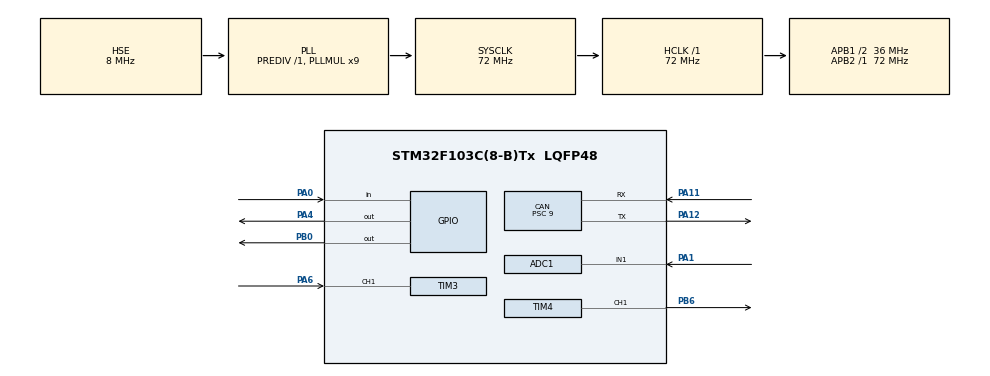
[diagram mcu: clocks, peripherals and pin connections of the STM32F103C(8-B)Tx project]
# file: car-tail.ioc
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ADC1.Channel-1\#ChannelRegularConversion=ADC_CHANNEL_1
ADC1.ContinuousConvMode=ENABLE
ADC1.NbrOfConversionFlag=1
ADC1.Rank-1\#ChannelRegularConversion=1
ADC1.SamplingTime-1\#ChannelRegularConversion=ADC_SAMPLETIME_239CYCLES_5
ADC1.master=1
CAN.BS1=CAN_BS1_6TQ
CAN.CalculateBaudRate=500000
CAN.CalculateTimeBit=2000
CAN.CalculateTimeQuantum=250.0
CAN.Prescaler=9
Mcu.Family=STM32F1
Mcu.Name=STM32F103C(8-B)Tx
Mcu.Package=LQFP48
NVIC.PriorityGroup=NVIC_PRIORITYGROUP_4
NVIC.TIM3_IRQn=true\:0\:0\:false\:false\:true\:true\:true\:true
PA0-WKUP.Signal=GPIO_Input
PA1.Signal=ADCx_IN1
PA11.Mode=CAN_Activate
PA11.Signal=CAN_RX
PA12.Mode=CAN_Activate
PA12.Signal=CAN_TX
PA13.Mode=Serial_Wire
PA13.Signal=SYS_JTMS-SWDIO
PA14.Mode=Serial_Wire
PA14.Signal=SYS_JTCK-SWCLK
PA4.Signal=GPIO_Output
PA6.Signal=S_TIM3_CH1
PB0.Signal=GPIO_Output
PB6.Signal=S_TIM4_CH1
PD0-OSC_IN.Mode=HSE-External-Oscillator
PD0-OSC_IN.Signal=RCC_OSC_IN
PD1-OSC_OUT.Mode=HSE-External-Oscillator
PD1-OSC_OUT.Signal=RCC_OSC_OUT
ProjectManager.HeapSize=0x200
ProjectManager.StackSize=0x400
ProjectManager.TargetToolchain=CMake
RCC.ADCPresc=RCC_ADCPCLK2_DIV6
RCC.AHBFreq_Value=72000000
RCC.APB1CLKDivider=RCC_HCLK_DIV2
RCC.APB1Freq_Value=36000000
RCC.APB1TimFreq_Value=72000000
RCC.APB2Freq_Value=72000000
RCC.APB2TimFreq_Value=72000000
RCC.HCLKFreq_Value=72000000
RCC.PLLMUL=RCC_PLL_MUL9
RCC.PLLSourceVirtual=RCC_PLLSOURCE_HSE
RCC.SYSCLKFreq_VALUE=72000000
RCC.SYSCLKSource=RCC_SYSCLKSOURCE_PLLCLK
RCC.USBFreq_Value=72000000
SH.ADCx_IN1.0=ADC1_IN1,IN1
SH.S_TIM3_CH1.0=TIM3_CH1,Input_Capture1_from_TI1
SH.S_TIM4_CH1.0=TIM4_CH1,PWM Generation1 CH1
TIM2.AutoReloadPreload=TIM_AUTORELOAD_PRELOAD_ENABLE
TIM2.Prescaler=71
TIM3.Channel-Input_Capture1_from_TI1=TIM_CHANNEL_1
TIM3.Prescaler=71
TIM4.Channel-PWM\ Generation1\ CH1=TIM_CHANNEL_1
TIM4.Period=19999
TIM4.Prescaler=71
VP_TIM2_VS_ClockSourceINT.Mode=Internal
VP_TIM3_VS_ClockSourceINT.Mode=Internal
VP_TIM4_VS_ClockSourceINT.Mode=Internal
board=custom

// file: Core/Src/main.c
/* USER CODE BEGIN Header */
/**
  ******************************************************************************
  * @file           : main.c
  * @brief          : Main program body
  ******************************************************************************
  * @attention
  *
  * Copyright (c) 2026 STMicroelectronics.
  * All rights reserved.
  *
  * This software is licensed under terms that can be found in the LICENSE file
  * in the root directory of this software component.
  * If no LICENSE file comes with this software, it is provided AS-IS.
  *
  ******************************************************************************
  */
/* USER CODE END Header */
#include "main.h"

/* USER CODE BEGIN Includes */
#include "ds18b20.h"
#include "Hc-Sr04.h"

/* USER CODE END Includes */

/* USER CODE BEGIN PD */
#define SERVO_PULSE_MIN   500
#define SERVO_PULSE_MAX   2500
#define ADC_VALUE_MAX     4095
#define CAN_ID_TAIL_TEMP      0x201   // nhiệt độ động cơ (DS18B20)
#define CAN_ID_TAIL_STEERING  0x203   // góc lái / servo pulse
#define CAN_ID_TAIL_DISTANCE  0x204   // khoảng cách lùi (HC-SR04)
/* USER CODE END PD */

ADC_HandleTypeDef hadc1;

CAN_HandleTypeDef hcan;

TIM_HandleTypeDef htim2;
TIM_HandleTypeDef htim3;
TIM_HandleTypeDef htim4;

/* USER CODE BEGIN PV */
float Temperature = 0.0;
float distance=0.0;
uint8_t DS18B20_flag = 0;
/* USER CODE END PV */

void SystemClock_Config(void);
static void MX_GPIO_Init(void);
static void MX_TIM2_Init(void);
static void MX_TIM3_Init(void);
static void MX_ADC1_Init(void);
static void MX_TIM4_Init(void);
static void MX_CAN_Init(void);

/* USER CODE BEGIN 0 */
 void delay_us(uint16_t time_us)
{
    __HAL_TIM_SET_COUNTER(&htim2, 0);
    while (__HAL_TIM_GET_COUNTER(&htim2) < time_us);
}
void delay_ms(uint16_t time_ms)
{
    while(time_ms--)
    {
        delay_us(1000);
    }

}
void CAN_SendValue(uint32_t id, float value)
{
    CAN_TxHeaderTypeDef TxHeader;
    uint8_t TxData[2];
    uint32_t TxMailbox;
    uint16_t scaled = (uint16_t)(value * 100); // để lấy hết giữ liệu thập phân

    TxHeader.StdId = id;
    TxHeader.IDE = CAN_ID_STD;
    TxHeader.RTR = CAN_RTR_DATA;
    TxHeader.DLC = 2;
    TxHeader.TransmitGlobalTime = DISABLE;

    TxData[0] = (scaled >> 8) & 0xFF;
    TxData[1] = scaled & 0xFF;

    HAL_CAN_AddTxMessage(&hcan, &TxHeader, TxData, &TxMailbox);
}
/* USER CODE END 0 */

int main(void)
{

  /* USER CODE BEGIN 1 */
  uint32_t DS18B20_time = 0;
  uint32_t HCSR04_time = 0;
  uint32_t  SERVO_time = 0;

  /* USER CODE END 1 */

  /* MCU Configuration--------------------------------------------------------*/

  /* Reset of all peripherals, Initializes the Flash interface and the Systick. */
  HAL_Init();

  /* Configure the system clock */
  SystemClock_Config();

  /* Initialize all configured peripherals */
  MX_GPIO_Init();
  MX_TIM2_Init();
  MX_TIM3_Init();
  MX_ADC1_Init();
  MX_TIM4_Init();
  MX_CAN_Init();
  /* USER CODE BEGIN 2 */

  HAL_TIM_Base_Start(&htim2);
  HAL_TIM_Base_Start(&htim3);
  HAL_TIM_IC_Start_IT(&htim3, TIM_CHANNEL_1);
  HAL_GPIO_WritePin(GPIOA, GPIO_PIN_4, GPIO_PIN_RESET);
  HAL_ADC_Start(&hadc1);
  HAL_TIM_PWM_Start(&htim4, TIM_CHANNEL_1);
  if (HAL_CAN_Start(&hcan) != HAL_OK)
  {
    Error_Handler();
  }
  /* USER CODE END 2 */

  /* Infinite loop */
  while (1)
  {

    /* USER CODE BEGIN 3 */
    if (DS18B20_flag == 0 && (HAL_GetTick() - DS18B20_time >= 1000))
    {
        if (DS18B20_StartConvert())
        {
            DS18B20_time = HAL_GetTick();
            DS18B20_flag = 1;
        }
    }
    else if (DS18B20_flag == 1 && (HAL_GetTick() - DS18B20_time >= 750))
    {
        Temperature = DS18B20_GetTemperature();
        CAN_SendValue(CAN_ID_TAIL_TEMP, Temperature);
        DS18B20_time = HAL_GetTick();
        DS18B20_flag = 0;
    }

if(HAL_GetTick() - HCSR04_time >= 100)
{
    HCSR04_time = HAL_GetTick();
    distance = HCSR04_Read();
    CAN_SendValue(CAN_ID_TAIL_DISTANCE, distance);

    if(distance < 20)
        HAL_GPIO_WritePin(GPIOB, GPIO_PIN_0, GPIO_PIN_SET);
    else
        HAL_GPIO_WritePin(GPIOB, GPIO_PIN_0, GPIO_PIN_RESET);
}

if (HAL_GetTick() - SERVO_time >= 20)
{
    SERVO_time = HAL_GetTick();

    if (HAL_ADC_PollForConversion(&hadc1, 10) == HAL_OK)
    {
        uint32_t adc_value = HAL_ADC_GetValue(&hadc1);
        uint16_t servo_pulse = (uint16_t)((adc_value * (SERVO_PULSE_MAX - SERVO_PULSE_MIN))
                                / ADC_VALUE_MAX + SERVO_PULSE_MIN);

        __HAL_TIM_SET_COMPARE(&htim4, TIM_CHANNEL_1, servo_pulse);
          CAN_SendValue(CAN_ID_TAIL_STEERING, (float)servo_pulse / 100.0f);
    }
}

  }
  /* USER CODE END 3 */
}

void SystemClock_Config(void)
{
  RCC_OscInitTypeDef RCC_OscInitStruct = {0};
  RCC_ClkInitTypeDef RCC_ClkInitStruct = {0};
  RCC_PeriphCLKInitTypeDef PeriphClkInit = {0};

  /** Initializes the RCC Oscillators according to the specified parameters
  * in the RCC_OscInitTypeDef structure.
  */
  RCC_OscInitStruct.OscillatorType = RCC_OSCILLATORTYPE_HSE;
  RCC_OscInitStruct.HSEState = RCC_HSE_ON;
  RCC_OscInitStruct.HSEPredivValue = RCC_HSE_PREDIV_DIV1;
  RCC_OscInitStruct.HSIState = RCC_HSI_ON;
  RCC_OscInitStruct.PLL.PLLState = RCC_PLL_ON;
  RCC_OscInitStruct.PLL.PLLSource = RCC_PLLSOURCE_HSE;
  RCC_OscInitStruct.PLL.PLLMUL = RCC_PLL_MUL9;
  if (HAL_RCC_OscConfig(&RCC_OscInitStruct) != HAL_OK)
  {
    Error_Handler();
  }

  /** Initializes the CPU, AHB and APB buses clocks
  */
  RCC_ClkInitStruct.ClockType = RCC_CLOCKTYPE_HCLK|RCC_CLOCKTYPE_SYSCLK
                              |RCC_CLOCKTYPE_PCLK1|RCC_CLOCKTYPE_PCLK2;
  RCC_ClkInitStruct.SYSCLKSource = RCC_SYSCLKSOURCE_PLLCLK;
  RCC_ClkInitStruct.AHBCLKDivider = RCC_SYSCLK_DIV1;
  RCC_ClkInitStruct.APB1CLKDivider = RCC_HCLK_DIV2;
  RCC_ClkInitStruct.APB2CLKDivider = RCC_HCLK_DIV1;

  if (HAL_RCC_ClockConfig(&RCC_ClkInitStruct, FLASH_LATENCY_2) != HAL_OK)
  {
    Error_Handler();
  }
  PeriphClkInit.PeriphClockSelection = RCC_PERIPHCLK_ADC;
  PeriphClkInit.AdcClockSelection = RCC_ADCPCLK2_DIV6;
  if (HAL_RCCEx_PeriphCLKConfig(&PeriphClkInit) != HAL_OK)
  {
    Error_Handler();
  }
}

static void MX_ADC1_Init(void)
{

  ADC_ChannelConfTypeDef sConfig = {0};

  /** Common config
  */
  hadc1.Instance = ADC1;
  hadc1.Init.ScanConvMode = ADC_SCAN_DISABLE;
  hadc1.Init.ContinuousConvMode = ENABLE;
  hadc1.Init.DiscontinuousConvMode = DISABLE;
  hadc1.Init.ExternalTrigConv = ADC_SOFTWARE_START;
  hadc1.Init.DataAlign = ADC_DATAALIGN_RIGHT;
  hadc1.Init.NbrOfConversion = 1;
  if (HAL_ADC_Init(&hadc1) != HAL_OK)
  {
    Error_Handler();
  }

  /** Configure Regular Channel
  */
  sConfig.Channel = ADC_CHANNEL_1;
  sConfig.Rank = ADC_REGULAR_RANK_1;
  sConfig.SamplingTime = ADC_SAMPLETIME_239CYCLES_5;
  if (HAL_ADC_ConfigChannel(&hadc1, &sConfig) != HAL_OK)
  {
    Error_Handler();
  }

}

static void MX_CAN_Init(void)
{

  hcan.Instance = CAN1;
  hcan.Init.Prescaler = 9;
  hcan.Init.Mode = CAN_MODE_NORMAL;
  hcan.Init.SyncJumpWidth = CAN_SJW_1TQ;
  hcan.Init.TimeSeg1 = CAN_BS1_6TQ;
  hcan.Init.TimeSeg2 = CAN_BS2_1TQ;
  hcan.Init.TimeTriggeredMode = DISABLE;
  hcan.Init.AutoBusOff = DISABLE;
  hcan.Init.AutoWakeUp = DISABLE;
  hcan.Init.AutoRetransmission = DISABLE;
  hcan.Init.ReceiveFifoLocked = DISABLE;
  hcan.Init.TransmitFifoPriority = DISABLE;
  if (HAL_CAN_Init(&hcan) != HAL_OK)
  {
    Error_Handler();
  }

}

static void MX_TIM2_Init(void)
{

  TIM_ClockConfigTypeDef sClockSourceConfig = {0};
  TIM_MasterConfigTypeDef sMasterConfig = {0};

  htim2.Instance = TIM2;
  htim2.Init.Prescaler = 71;
  htim2.Init.CounterMode = TIM_COUNTERMODE_UP;
  htim2.Init.Period = 65535;
  htim2.Init.ClockDivision = TIM_CLOCKDIVISION_DIV1;
  htim2.Init.AutoReloadPreload = TIM_AUTORELOAD_PRELOAD_ENABLE;
  if (HAL_TIM_Base_Init(&htim2) != HAL_OK)
  {
    Error_Handler();
  }
  sClockSourceConfig.ClockSource = TIM_CLOCKSOURCE_INTERNAL;
  if (HAL_TIM_ConfigClockSource(&htim2, &sClockSourceConfig) != HAL_OK)
  {
    Error_Handler();
  }
  sMasterConfig.MasterOutputTrigger = TIM_TRGO_RESET;
  sMasterConfig.MasterSlaveMode = TIM_MASTERSLAVEMODE_DISABLE;
  if (HAL_TIMEx_MasterConfigSynchronization(&htim2, &sMasterConfig) != HAL_OK)
  {
    Error_Handler();
  }

}

static void MX_TIM3_Init(void)
{

  TIM_ClockConfigTypeDef sClockSourceConfig = {0};
  TIM_MasterConfigTypeDef sMasterConfig = {0};
  TIM_IC_InitTypeDef sConfigIC = {0};

  htim3.Instance = TIM3;
  htim3.Init.Prescaler = 71;
  htim3.Init.CounterMode = TIM_COUNTERMODE_UP;
  htim3.Init.Period = 65535;
  htim3.Init.ClockDivision = TIM_CLOCKDIVISION_DIV1;
  htim3.Init.AutoReloadPreload = TIM_AUTORELOAD_PRELOAD_DISABLE;
  if (HAL_TIM_Base_Init(&htim3) != HAL_OK)
  {
    Error_Handler();
  }
  sClockSourceConfig.ClockSource = TIM_CLOCKSOURCE_INTERNAL;
  if (HAL_TIM_ConfigClockSource(&htim3, &sClockSourceConfig) != HAL_OK)
  {
    Error_Handler();
  }
  if (HAL_TIM_IC_Init(&htim3) != HAL_OK)
  {
    Error_Handler();
  }
  sMasterConfig.MasterOutputTrigger = TIM_TRGO_RESET;
  sMasterConfig.MasterSlaveMode = TIM_MASTERSLAVEMODE_DISABLE;
  if (HAL_TIMEx_MasterConfigSynchronization(&htim3, &sMasterConfig) != HAL_OK)
  {
    Error_Handler();
  }
  sConfigIC.ICPolarity = TIM_INPUTCHANNELPOLARITY_RISING;
  sConfigIC.ICSelection = TIM_ICSELECTION_DIRECTTI;
  sConfigIC.ICPrescaler = TIM_ICPSC_DIV1;
  sConfigIC.ICFilter = 0;
  if (HAL_TIM_IC_ConfigChannel(&htim3, &sConfigIC, TIM_CHANNEL_1) != HAL_OK)
  {
    Error_Handler();
  }

}

static void MX_TIM4_Init(void)
{

  TIM_ClockConfigTypeDef sClockSourceConfig = {0};
  TIM_MasterConfigTypeDef sMasterConfig = {0};
  TIM_OC_InitTypeDef sConfigOC = {0};

  htim4.Instance = TIM4;
  htim4.Init.Prescaler = 71;
  htim4.Init.CounterMode = TIM_COUNTERMODE_UP;
  htim4.Init.Period = 19999;
  htim4.Init.ClockDivision = TIM_CLOCKDIVISION_DIV1;
  htim4.Init.AutoReloadPreload = TIM_AUTORELOAD_PRELOAD_DISABLE;
  if (HAL_TIM_Base_Init(&htim4) != HAL_OK)
  {
    Error_Handler();
  }
  sClockSourceConfig.ClockSource = TIM_CLOCKSOURCE_INTERNAL;
  if (HAL_TIM_ConfigClockSource(&htim4, &sClockSourceConfig) != HAL_OK)
  {
    Error_Handler();
  }
  if (HAL_TIM_PWM_Init(&htim4) != HAL_OK)
  {
    Error_Handler();
  }
  sMasterConfig.MasterOutputTrigger = TIM_TRGO_RESET;
  sMasterConfig.MasterSlaveMode = TIM_MASTERSLAVEMODE_DISABLE;
  if (HAL_TIMEx_MasterConfigSynchronization(&htim4, &sMasterConfig) != HAL_OK)
  {
    Error_Handler();
  }
  sConfigOC.OCMode = TIM_OCMODE_PWM1;
  sConfigOC.Pulse = 0;
  sConfigOC.OCPolarity = TIM_OCPOLARITY_HIGH;
  sConfigOC.OCFastMode = TIM_OCFAST_DISABLE;
  if (HAL_TIM_PWM_ConfigChannel(&htim4, &sConfigOC, TIM_CHANNEL_1) != HAL_OK)
  {
    Error_Handler();
  }
  HAL_TIM_MspPostInit(&htim4);

}

static void MX_GPIO_Init(void)
{
  GPIO_InitTypeDef GPIO_InitStruct = {0};

  /* GPIO Ports Clock Enable */
  __HAL_RCC_GPIOD_CLK_ENABLE();
  __HAL_RCC_GPIOA_CLK_ENABLE();
  __HAL_RCC_GPIOB_CLK_ENABLE();

  /*Configure GPIO pin Output Level */
  HAL_GPIO_WritePin(GPIOA, GPIO_PIN_4, GPIO_PIN_RESET);

  /*Configure GPIO pin Output Level */
  HAL_GPIO_WritePin(GPIOB, GPIO_PIN_0, GPIO_PIN_RESET);

  /*Configure GPIO pin : PA0 */
  GPIO_InitStruct.Pin = GPIO_PIN_0;
  GPIO_InitStruct.Mode = GPIO_MODE_INPUT;
  GPIO_InitStruct.Pull = GPIO_NOPULL;
  HAL_GPIO_Init(GPIOA, &GPIO_InitStruct);

  /*Configure GPIO pin : PA4 */
  GPIO_InitStruct.Pin = GPIO_PIN_4;
  GPIO_InitStruct.Mode = GPIO_MODE_OUTPUT_PP;
  GPIO_InitStruct.Pull = GPIO_NOPULL;
  GPIO_InitStruct.Speed = GPIO_SPEED_FREQ_LOW;
  HAL_GPIO_Init(GPIOA, &GPIO_InitStruct);

  /*Configure GPIO pin : PB0 */
  GPIO_InitStruct.Pin = GPIO_PIN_0;
  GPIO_InitStruct.Mode = GPIO_MODE_OUTPUT_PP;
  GPIO_InitStruct.Pull = GPIO_NOPULL;
  GPIO_InitStruct.Speed = GPIO_SPEED_FREQ_LOW;
  HAL_GPIO_Init(GPIOB, &GPIO_InitStruct);

}

void Error_Handler(void)
{
  __disable_irq();
  while (1)
  {
  }
}
